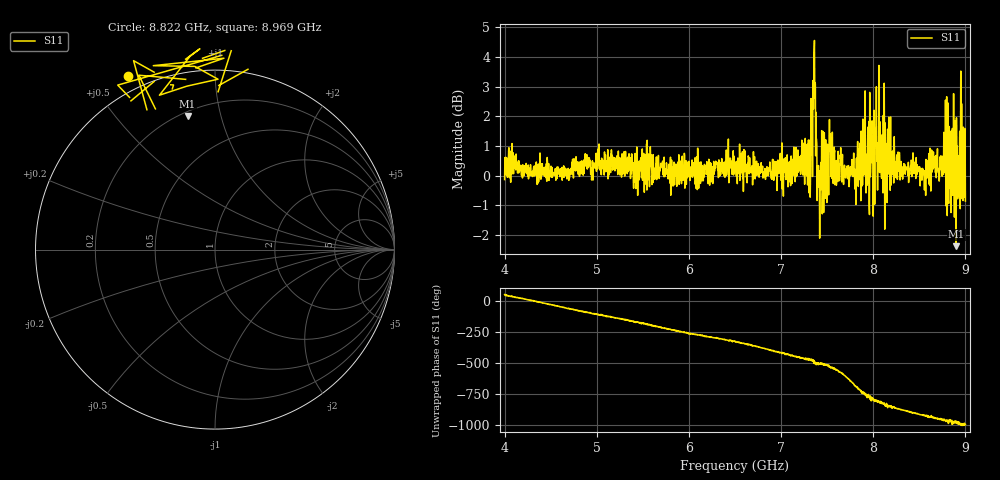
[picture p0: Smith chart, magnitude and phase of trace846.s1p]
! Created with skrf 1.8.0 (http://scikit-rf.org).
# Hz S RI R 50.0
!freq ReS11 ImS11
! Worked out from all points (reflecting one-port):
!   1601 points, 4 GHz to 9 GHz, reference 50 ohm
!   lowest |S11| = -2.4 dB at 8.9 GHz (marker M1), VSWR 7.35, Z = 11.2 + j39.6 ohm
!   phase of S11 starts at 55 deg and turns -1047 deg over the sweep
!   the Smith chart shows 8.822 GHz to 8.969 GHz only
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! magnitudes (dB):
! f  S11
! 4 GHz  -0.1
! 4.094 GHz  0.3
! 4.625 GHz  -0.2
! 5.25 GHz  0.0
! 5.875 GHz  0.0
! 6.5 GHz  0.2
! 7.125 GHz  0.4
! 7.294 GHz  0.3
! 7.325 GHz  2.6
! 7.347 GHz  3.2
! 7.369 GHz  3.1
! 7.4 GHz  0.0
! 7.412 GHz  0.2
! 7.534 GHz  1.4
! 7.609 GHz  0.4
! 7.75 GHz  0.0
! 7.928 GHz  0.7
! 7.947 GHz  -0.3
! 8.05 GHz  1.1
! 8.066 GHz  0.4
! 8.153 GHz  0.7
! 8.216 GHz  0.8
! 8.375 GHz  0.3
! 8.544 GHz  0.1
! 8.788 GHz  -0.9
! 8.9 GHz  -2.4
! 8.972 GHz  0.7
! 9 GHz  -0.9
